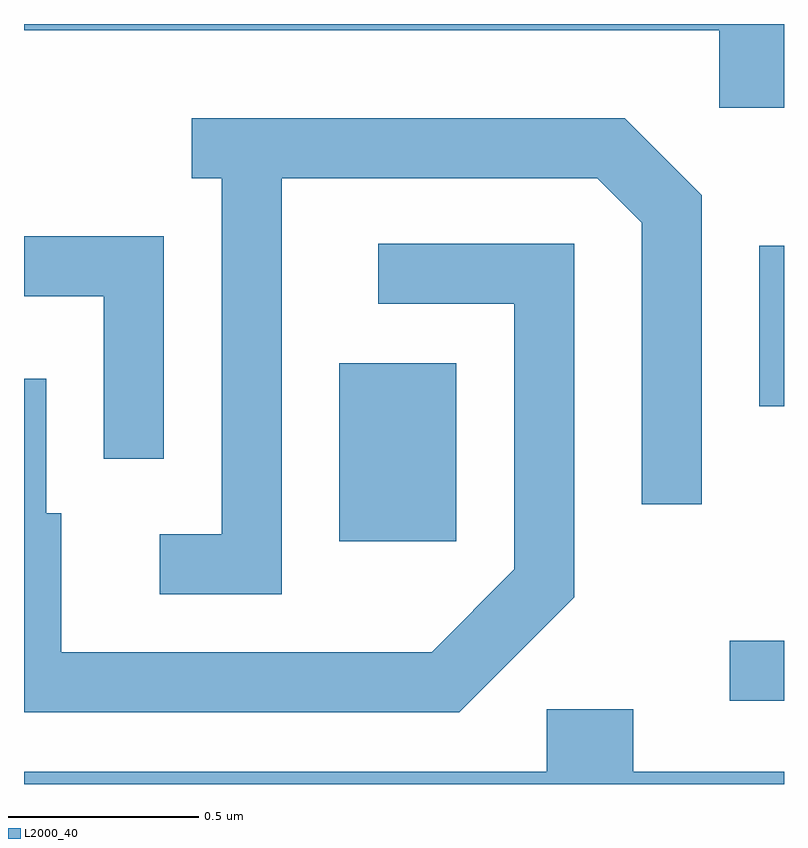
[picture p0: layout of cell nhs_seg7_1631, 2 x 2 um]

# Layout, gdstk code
import gdstk
lib = gdstk.Library(unit=1e-6, precision=1e-09)
def R(c, l, rs):  # rectangles x0, y0, x1, y1
    for r in rs: c.add(gdstk.rectangle(r[:2], r[2:], *l))
def P(c, l, *ps):  # polygons
    for p in ps: c.add(gdstk.Polygon(p, *l))
L2000_40 = (2000, 40)

nhs_seg7_1631 = lib.new_cell('nhs_seg7_1631')
R(nhs_seg7_1631, L2000_40, [(198.468,1792.471,198.611,1792.629), (197.441,1792.891,197.749,1793.359), (198.546,1793.246,198.611,1793.669)])
P(nhs_seg7_1631, L2000_40, [(198.611,1794.252),(196.611,1794.252),(196.611,1794.236),(198.441,1794.236),(198.441,1794.031),(198.611,1794.031)],
  [(197.289,1793.846),(198.119,1793.846),(198.236,1793.729),(198.236,1792.988),(198.394,1792.988),(198.394,1793.802),(198.192,1794.004),(197.053,1794.004),(197.053,1793.846),(197.131,1793.846),(197.131,1792.909),(196.968,1792.909),(196.968,1792.751),(197.289,1792.751)],
  [(196.979,1793.694),(196.611,1793.694),(196.611,1793.536),(196.821,1793.536),(196.821,1793.108),(196.979,1793.108)],
  [(198.059,1792.744),(198.059,1793.674),(197.543,1793.674),(197.543,1793.516),(197.901,1793.516),(197.901,1792.817),(197.684,1792.599),(196.709,1792.599),(196.709,1792.964),(196.669,1792.964),(196.669,1793.319),(196.611,1793.319),(196.611,1792.441),(197.757,1792.441)],
  [(198.611,1792.284),(198.214,1792.284),(198.214,1792.449),(197.986,1792.449),(197.986,1792.284),(196.611,1792.284),(196.611,1792.252),(198.611,1792.252)])

lib.write_gds('nhs_seg7_1631.gds')
